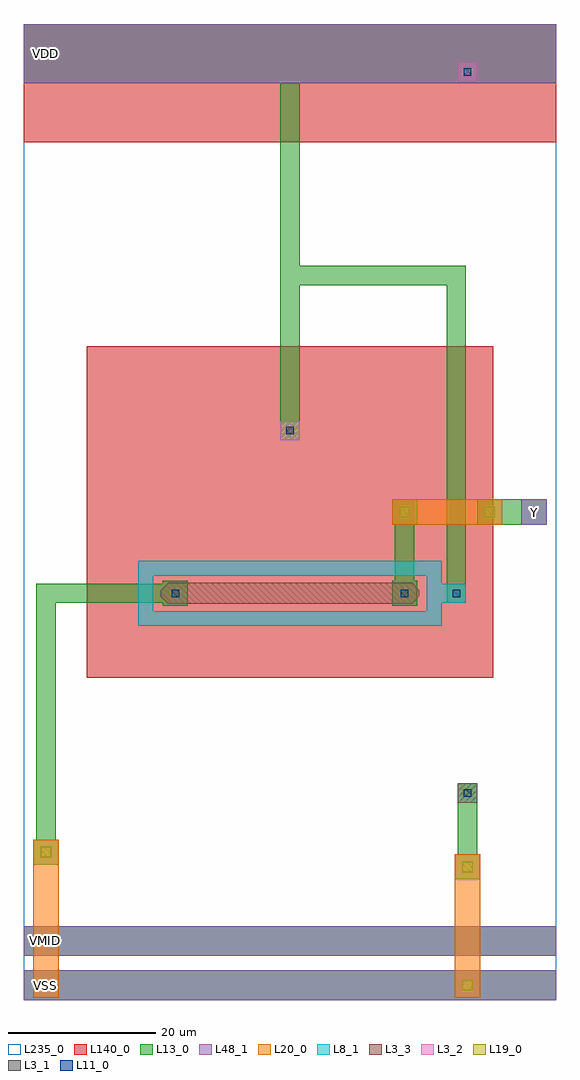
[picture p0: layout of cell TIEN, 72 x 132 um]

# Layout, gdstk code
import gdstk
lib = gdstk.Library(unit=1e-6, precision=1e-09)
def R(c, l, rs):  # rectangles x0, y0, x1, y1
    for r in rs: c.add(gdstk.rectangle(r[:2], r[2:], *l))
def P(c, l, *ps):  # polygons
    for p in ps: c.add(gdstk.Polygon(p, *l))
L3_1 = (3, 1)
L3_2 = (3, 2)
L3_3 = (3, 3)
L8_1 = (8, 1)
L11_0 = (11, 0)
L13_0 = (13, 0)
L19_0 = (19, 0)
L20_0 = (20, 0)
L48_1 = (48, 1)
L140_0 = (140, 0)
L235_0 = (235, 0)

res_diff__tien = lib.new_cell('res_diff__TIEN')
P(res_diff__tien, L3_3, [(-16.5,-1.4),(-17.5,-0.4),(-17.5,0.4),(-16.5,1.4),(16.5,1.4),(17.5,0.4),(17.5,-0.4),(16.5,-1.4)])
P(res_diff__tien, L8_1, [(-20.5,-4.4),(-20.5,2.4),(-18.5,2.4),(-18.5,-2.4),(18.5,-2.4),(18.5,2.4),(-20.5,2.4),(-20.5,4.4),(20.5,4.4),(20.5,-4.4)])
R(res_diff__tien, L11_0, [(-16,-0.5,-15,0.5), (15,-0.5,16,0.5)])
R(res_diff__tien, L13_0, [(-17.2,-1.7,-13.8,1.7), (13.8,-1.7,17.2,1.7)])

cont_n__tien = lib.new_cell('cont_n__TIEN')
R(cont_n__tien, L3_2, [(-1.3,-1.3,1.3,1.3)])
R(cont_n__tien, L11_0, [(-0.5,-0.5,0.5,0.5)])
R(cont_n__tien, L13_0, [(-1.3,-1.3,1.3,1.3)])

cont_g__tien = lib.new_cell('cont_g__TIEN')
R(cont_g__tien, L8_1, [(-1.3,-1.3,1.3,1.3)])
R(cont_g__tien, L11_0, [(-0.5,-0.5,0.5,0.5)])
R(cont_g__tien, L13_0, [(-1.3,-1.3,1.3,1.3)])

via_1__tien = lib.new_cell('via_1__TIEN')
R(via_1__tien, L13_0, [(-1.7,-1.7,1.7,1.7)])
R(via_1__tien, L19_0, [(-0.7,-0.7,0.7,0.7)])
R(via_1__tien, L20_0, [(-1.7,-1.7,1.7,1.7)])

cont_p__tien = lib.new_cell('cont_p__TIEN')
R(cont_p__tien, L3_1, [(-1.3,-1.3,1.3,1.3)])
R(cont_p__tien, L11_0, [(-0.5,-0.5,0.5,0.5)])
R(cont_p__tien, L13_0, [(-1.3,-1.3,1.3,1.3)])

tien = lib.new_cell('TIEN')
R(tien, L8_1, [(55.2,53.7,59.8,56.3)])
R(tien, L13_0, [(0,0,72,4), (0,6,72,10), (58.7,16.7,61.3,29.3), (1.7,18.7,4.3,56.3), (1.7,53.7,21.8,56.3), (50.2,53.7,52.8,67.3), (57.2,53.7,59.8,99.3), (61.3,64.3,70.7,67.7), (67.3,64.3,70.7,67.7), (34.7,75.7,37.3,99.3), (34.7,96.7,59.8,99.3), (34.7,96.7,37.3,129.3), (0,124,72,132), (58.7,124.2,61.3,129.3)])
R(tien, L20_0, [(1.3,0.3,4.7,21.7), (58.3,0.3,61.7,19.7), (49.8,64.3,64.7,67.7)])
R(tien, L48_1, [(0,0,72,4), (0,6,72,10), (67.3,64.3,70.7,67.7), (0,124,72,132)])
R(tien, L140_0, [(8.5,43.6,63.5,88.4), (0,116,72,132)])
R(tien, L235_0, [(0,0,72,132)])
tien.add(gdstk.Reference(res_diff__tien, (36,55)))
tien.add(gdstk.Reference(cont_n__tien, (36,77)))
tien.add(gdstk.Reference(cont_g__tien, (58.5,55)))
tien.add(gdstk.Reference(via_1__tien, (51.5,66)))
tien.add(gdstk.Reference(via_1__tien, (63,66)))
tien.add(gdstk.Reference(via_1__tien, (3,20)))
tien.add(gdstk.Reference(via_1__tien, (3,2)))
tien.add(gdstk.Reference(cont_n__tien, (60,125.5)))
tien.add(gdstk.Reference(cont_p__tien, (60,28)))
tien.add(gdstk.Reference(via_1__tien, (60,18)))
tien.add(gdstk.Reference(via_1__tien, (60,2)))
tien.add(gdstk.Label('Y', (69,66), layer=48, texttype=0))
tien.add(gdstk.Label('VDD', (3,128), layer=48, texttype=0))
tien.add(gdstk.Label('VMID', (3,8), layer=48, texttype=0))
tien.add(gdstk.Label('VSS', (3,2), layer=48, texttype=0))

lib.write_gds('TIEN.gds')
